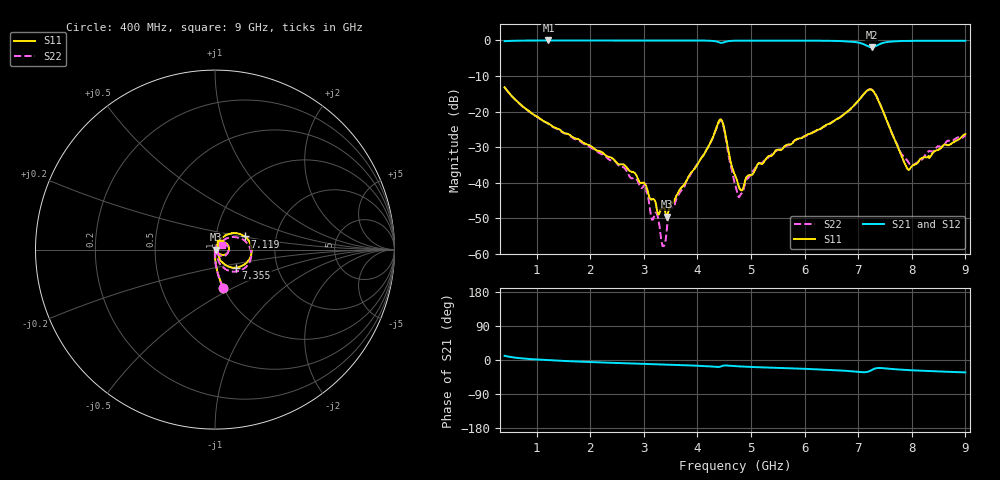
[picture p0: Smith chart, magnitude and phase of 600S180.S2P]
!  American Technical Ceramics  Date:  12/2/2005
!  One Norden Lane
!  Huntington Station,  NY.  11746-2102
!  Tel:  (631) 622-4700  Fax:  (631) 622-4748
!  Part Number  600S180  Mounting Orientation: Horizontal
!  Description: Ultra Low ESR Microwave capacitors
!  Application: Coupling, Bypass, Tuning, DC Block
!  Filters, Matching
# GHZ S DB R 50
! Freq  |S11|  S11 Ph  |S21|  S21 Ph  |S12|  S12 Ph  |S22|  S22 Ph
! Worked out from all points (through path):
!   801 points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, 400 MHz to 9 GHz, reference 50 ohm
!   highest |S21| = -0.04 dB at 1.217 GHz (marker M1); lowest = -2.0 dB at 7.248 GHz (marker M2)
!   group delay of S21, straight-line fit = 11.7 ps
!   lowest |S11| = -49.5 dB at 3.432 GHz (marker M3), VSWR 1.01, Z = 50.3 + j0.0271 ohm
!   |S11| at or under -10 dB: start of sweep to end of sweep
!   |S22| runs from -57.8 to -13.2 dB; largest |S21 - S12| = 0.01
!   S11 on the Smith chart (normalised r, x): 400 MHz: 1.00, -0.45; 7.119 GHz: 1.38, +0.21; 7.355 GHz: 1.24, -0.25; 9 GHz: 1.05, +0.08
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0.4  -13.21 -77.5  -0.24 11.2  -0.27 11.2  -13.24 -78.0
1.217  -23.31 -87.4  -0.04 -0.6  -0.08 -0.5  -23.46 -88.2
1.841  -28.44 -89.0  -0.04 -4.5  -0.07 -4.4  -28.75 -91.1
3.012  -40.25 -102.6  -0.04 -10.2  -0.08 -10.1  -40.52 -78.9
3.141  -44.67 -58.1  -0.04 -10.9  -0.07 -10.8  -49.96 -77.9
3.27  -48.93 -34.8  -0.05 -11.4  -0.08 -11.4  -50.38 -41.7
3.356  -47.01 -20.9  -0.05 -11.8  -0.08 -11.8  -57.79 18.0
3.432  -49.50 4.6  -0.05 -12.2  -0.08 -12.2  -52.28 19.3
3.496  -45.90 33.5  -0.04 -12.5  -0.08 -12.5  -46.83 39.8
4.152  -31.22 60.5  -0.09 -16.2  -0.13 -16.1  -31.06 58.8
4.421  -22.23 14.8  -0.66 -17.6  -0.70 -17.5  -22.56 5.7
4.496  -24.55 -30.1  -0.53 -14.6  -0.57 -14.4  -25.02 -41.0
4.7  -37.81 -27.1  -0.10 -16.2  -0.15 -16.0  -40.49 -39.5
4.818  -42.16 16.9  -0.08 -17.1  -0.12 -16.9  -43.03 18.9
5.141  -34.53 60.0  -0.08 -19.1  -0.11 -18.9  -34.73 54.9
6.141  -25.99 64.2  -0.11 -24.1  -0.13 -23.8  -25.87 51.2
7.119  -14.83 23.9  -1.20 -32.3  -1.25 -32.0  -14.84 12.1
7.248  -13.85 -10.2  -1.97 -26.9  -2.02 -26.6  -13.80 -21.7
7.355  -16.19 -40.2  -1.37 -21.3  -1.43 -21.0  -16.11 -51.4
7.57  -23.91 -64.1  -0.42 -23.0  -0.48 -22.6  -23.82 -72.5
7.936  -36.39 -21.3  -0.17 -26.7  -0.21 -26.4  -34.20 -30.8
9  -26.33 54.8  -0.14 -32.7  -0.17 -32.2  -26.67 34.3
